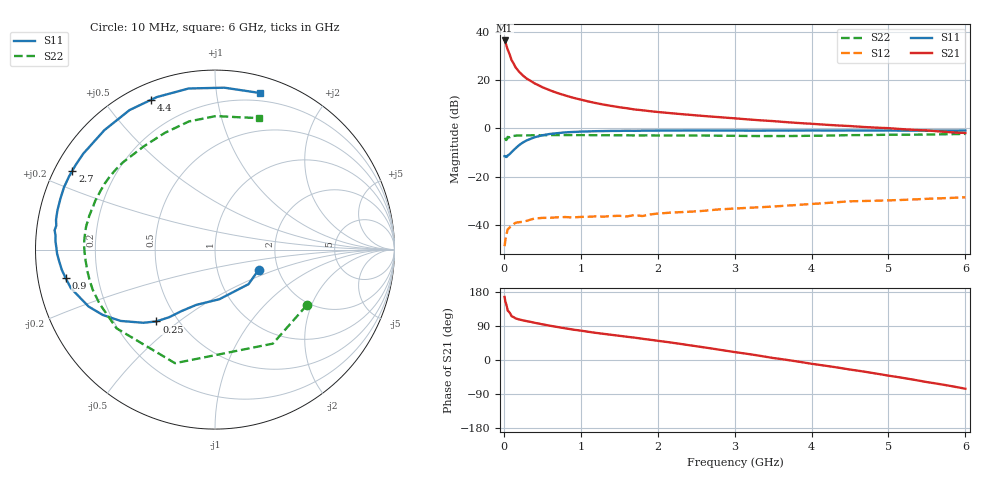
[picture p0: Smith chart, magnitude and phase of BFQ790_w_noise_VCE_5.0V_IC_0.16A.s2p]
! Infineon Technologies  Discrete & RF Semiconductors
! BFQ790
! VCE =  5.0 V,  IC = 0.16 A
! Common Emitter S-Parameters:  May 2015
# GHz  S  MA  R  50
!  f  S11  S21  S12  S22
! GHz  MAG  ANG  MAG  ANG  MAG  ANG  MAG  ANG
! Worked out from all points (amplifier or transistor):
!   77 points, 10 MHz to 6 GHz, reference 50 ohm
!   highest |S21| = 36.4 dB at 10 MHz (marker M1)
!   |S21| within 3 dB of that: start of sweep to 42.24 MHz
!   unconditionally stable (mu >= 1): start of sweep to 30.26 MHz; 189.5 MHz to 773.8 MHz; 835.1 MHz to end of sweep
!   at 130 MHz: K = 0.87, MSG = 33.0 dB, |S12| = -39.4 dB
!   at 2.2 GHz: K = 1.27, MAG = 17.3 dB, |S12| = -34.7 dB
!   at 6 GHz: K = 1.15, MAG = 10.9 dB, |S12| = -28.4 dB
!   lowest NFmin = 3.03 dB at 1.5 GHz
!   S11 on the Smith chart (normalised r, x): 10 MHz: 1.59, -0.38; 250 MHz: 0.38, -0.42; 900 MHz: 0.08, -0.09; 2.7 GHz: 0.05, +0.26; 4.4 GHz: 0.07, +0.66; 6 GHz: 0.13, +1.32
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0.01  0.2683 -24.5  65.92 166.5  0.0037 40.2  0.5979 -31.2
0.02  0.2682 -45.9  61.17 154.1  0.005 45.7  0.6152 -58.4
0.05  0.2776 -85.0  42.71 130.6  0.0082 31.6  0.6709 -109.4
0.1  0.3247 -108.6  25.94 115.7  0.0099 20.7  0.7024 -141.4
0.15  0.3865 -118.2  18.62 110.1  0.0112 22.5  0.7103 -154.8
0.2  0.4548 -124.1  14.73 106.9  0.0116 21.6  0.7172 -161.9
0.25  0.5163 -129.2  12.33 104.6  0.0118 19.3  0.7192 -166.5
0.3  0.5697 -134.3  10.66 102.4  0.0124 15.4  0.7205 -170.0
0.4  0.6589 -142.9  8.544 98.2  0.0138 14.9  0.7236 -175.0
0.5  0.7237 -149.8  7.141 94.2  0.0142 13.0  0.7266 -178.6
0.6  0.772 -155.7  6.154 90.5  0.0143 11.6  0.7296 178.5
0.7  0.8016 -160.9  5.379 86.9  0.0146 13.3  0.7302 176.1
0.9  0.8471 -169.2  4.317 80.2  0.0145 7.9  0.7291 172.4
1.1  0.8709 -175.8  3.612 74.4  0.015 9.3  0.7289 169.0
1.5  0.8919 175.0  2.753 63.9  0.0157 9.2  0.7227 163.3
2.1  0.9052 163.8  2.119 48.1  0.0179 8.9  0.7174 154.7
2.7  0.9083 151.0  1.761 30.4  0.0206 4.9  0.7116 143.2
3.1  0.905 141.7  1.574 18.1  0.0226 0.9  0.7027 134.2
4.1  0.9087 119.4  1.22 -12.8  0.0282 -11.8  0.7098 110.8
4.4  0.9075 113.0  1.142 -21.9  0.0305 -17.2  0.7222 103.8
5.1  0.9049 96.8  0.989 -44.4  0.0331 -30.6  0.7434 87.4
6  0.9077 74.0  0.805 -75.8  0.038 -50.5  0.7728 71.6
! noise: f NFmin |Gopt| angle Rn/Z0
0.45  4.92  0.45  139  0.47
0.9  3.45  0.58  167  0.16
1.5  3.03  0.69  -173  0.08
1.8  3.11  0.7  -167  0.1
2.6  3.41  0.73  -152  0.23
3.5  3.96  0.84  -136  0.51
